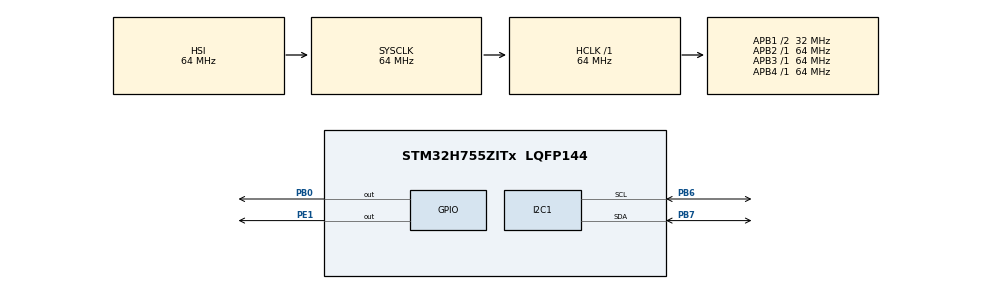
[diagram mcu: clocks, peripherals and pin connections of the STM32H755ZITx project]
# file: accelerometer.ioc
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CortexM4.IPs=FATFS_M4\:I,FREERTOS_M4\:I,IWDG2\:I,RCC,WWDG2\:I,DMA,BDMA,MDMA,NVIC2\:I,ETH,USART3,DEBUG,PDM2PCM_M4\:I,PWR,RESMGR_UTILITY,SYS_M4\:I,USB_DEVICE_M4\:I,USB_HOST_M4\:I,CORTEX_M4\:I,GPIO,OPENAMP_M4\:I,VREFBUF,NUCLEO-H755ZI-Q
CortexM7.IPs=FATFS_M7\:I,FREERTOS_M7\:I,IWDG1\:I,RCC\:I,WWDG1\:I,DMA\:I,BDMA\:I,MDMA\:I,NVIC1\:I,ETH\:I,USART3\:I,USB_OTG_FS\:I,SYS\:I,CORTEX_M7\:I,DEBUG\:I,PDM2PCM_M7\:I,PWR\:I,RESMGR_UTILITY\:I,USB_DEVICE_M7\:I,USB_HOST_M7\:I,GPIO\:I,OPENAMP_M7\:I,VREFBUF\:I,NUCLEO-H755ZI-Q\:I,I2C1\:I
CortexM7.Pins=PB0,PE1
I2C1.Timing=0x00707CBB
Mcu.Family=STM32H7
Mcu.Name=STM32H755ZITx
Mcu.Package=LQFP144
NVIC1.PriorityGroup=NVIC_PRIORITYGROUP_4
NVIC2.PriorityGroup=NVIC_PRIORITYGROUP_4
PB0.PinAttribute=CortexM7
PB0.Signal=GPIO_Output
PB3\ (JTDO/TRACESWO).PinAttribute=CortexM7
PB3\ (JTDO/TRACESWO).Signal=DEBUG_JTDO-SWO
PB6.Mode=I2C
PB6.PinAttribute=CortexM7
PB6.Signal=I2C1_SCL
PB7.Mode=I2C
PB7.PinAttribute=CortexM7
PB7.Signal=I2C1_SDA
PE1.PinAttribute=CortexM7
PE1.Signal=GPIO_Output
ProjectManager.HeapSize=M4-0x200,M7-0x200
ProjectManager.StackSize=M4-0x400,M7-0x400
ProjectManager.TargetToolchain=STM32CubeIDE
RCC.ADCFreq_Value=129000000
RCC.APB1Freq_Value=32000000
RCC.APB2Freq_Value=64000000
RCC.APB3Freq_Value=64000000
RCC.APB4Freq_Value=64000000
RCC.CortexFreq_Value=64000000
RCC.D2PPRE1=RCC_APB1_DIV2
RCC.DIVM1=5
RCC.DIVN1=48
RCC.DIVQ1=5
RCC.HCLKFreq_Value=64000000
RCC.PLL2FRACN=0
RCC.PLL3FRACN=0
RCC.PLLFRACN=0
RCC.SYSCLKFreq_VALUE=64000000
RCC.SupplySource=PWR_DIRECT_SMPS_SUPPLY
RCC.USBFreq_Value=122880000
VP_SYS_M4_VS_Systick.Mode=SysTick
board=NUCLEO-H755ZI-Q

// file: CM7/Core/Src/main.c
/* USER CODE BEGIN Header */
/**
 ******************************************************************************
 * @file           : main.c
 * @brief          : Main program body
 ******************************************************************************
 * @attention
 *
 * Copyright (c) 2024 STMicroelectronics.
 * All rights reserved.
 *
 * This software is licensed under terms that can be found in the LICENSE file
 * in the root directory of this software component.
 * If no LICENSE file comes with this software, it is provided AS-IS.
 *
 ******************************************************************************
 */
/* USER CODE END Header */
#include "main.h"

/* USER CODE BEGIN Includes */
#include <stdio.h>
/* USER CODE END Includes */

/* USER CODE BEGIN PD */

#ifndef HSEM_ID_0
#define HSEM_ID_0 (0U) /* HW semaphore 0*/
#endif

/* USER CODE END PD */

I2C_HandleTypeDef hi2c1;

void SystemClock_Config(void);
static void MX_GPIO_Init(void);
static void MX_I2C1_Init(void);

int main(void)
{

	/* USER CODE BEGIN Boot_Mode_Sequence_0 */
	int32_t timeout;
	/* USER CODE END Boot_Mode_Sequence_0 */

	/* USER CODE BEGIN Boot_Mode_Sequence_1 */
	/* Wait until CPU2 boots and enters in stop mode or timeout*/
	timeout = 0xFFFF;
	while((__HAL_RCC_GET_FLAG(RCC_FLAG_D2CKRDY) != RESET) && (timeout-- > 0));
	if ( timeout < 0 )
	{
		Error_Handler();
	}
	/* USER CODE END Boot_Mode_Sequence_1 */
	/* MCU Configuration--------------------------------------------------------*/

	/* Reset of all peripherals, Initializes the Flash interface and the Systick. */
	HAL_Init();

	/* USER CODE BEGIN Init */

	int _write(int le, char *ptr, int len)
	{
		int DataIdx;
		for(DataIdx = 0; DataIdx < len; DataIdx++)
		{
			ITM_SendChar(*ptr++);
		}

		return len;

	}

	/* USER CODE END Init */

	/* Configure the system clock */
	SystemClock_Config();
	/* USER CODE BEGIN Boot_Mode_Sequence_2 */
	/* When system initialization is finished, Cortex-M7 will release Cortex-M4 by means of
HSEM notification */
	/*HW semaphore Clock enable*/
	__HAL_RCC_HSEM_CLK_ENABLE();
	/*Take HSEM */
	HAL_HSEM_FastTake(HSEM_ID_0);
	/*Release HSEM in order to notify the CPU2(CM4)*/
	HAL_HSEM_Release(HSEM_ID_0,0);
	/* wait until CPU2 wakes up from stop mode */
	timeout = 0xFFFF;
	while((__HAL_RCC_GET_FLAG(RCC_FLAG_D2CKRDY) == RESET) && (timeout-- > 0));
	if ( timeout < 0 )
	{
		Error_Handler();
	}
	/* USER CODE END Boot_Mode_Sequence_2 */

	/* Initialize all configured peripherals */
	MX_GPIO_Init();
	MX_I2C1_Init();
	/* USER CODE BEGIN 2 */

	HAL_StatusTypeDef ret = HAL_I2C_IsDeviceReady(&hi2c1, (0b00011111 << 1) + 0, 1, 100);

	if(ret == HAL_OK)
		printf("Device is recognized \n");
	//HAL_GPIO_WritePin(GPIOE, GPIO_PIN_1, 1); // yellow
	else
		printf("Device is not recognized \n");

	//HAL_GPIO_WritePin(GPIOB, GPIO_PIN_0, 1); //green

	//	HAL_I2C_Mem_Read(I2C_HandleTypeDef *hi2c,
	//					 uint16_t DevAddress,
	//					 uint16_t MemAddress,
	//					 uint16_t MemAddSize,
	//					 uint8_t *pData,
	//					 uint16_t Size,
	//					 uint32_t Timeout)

	// First, read what's in register already then print it
	uint8_t cntl1 = 0;
	HAL_I2C_Mem_Read(&hi2c1, (0b00011111 << 1) + 1, 0x1B, 1, &cntl1, 1, 100);
	printf("cntl1 initial: %d \n", cntl1);

	// Reset register
	cntl1 = 0;
	HAL_I2C_Mem_Write(&hi2c1, (0b00011111 << 1) + 0, 0x1B, 1, &cntl1, 1, 100);

	// %%%%%%%%%% Setting up ODCNTL register %%%%%%%%%%
	uint8_t odcntl = 0b00000110;
	HAL_I2C_Mem_Write(&hi2c1, (0b00011111 << 1) + 0, 0x21, 1, &odcntl, 1, 100);

	odcntl = odcntl | 0b00001101;
	HAL_I2C_Mem_Write(&hi2c1, (0b00011111 << 1) + 0, 0x21, 1, &odcntl, 1, 100);

	HAL_I2C_Mem_Read(&hi2c1, (0b00011111 << 1) + 1, 0x21, 1, &odcntl, 1, 100);
	printf("odcntl after settings: %d \n", odcntl);
	// %%%%%%%%%% Setting up ODCNTL register %%%%%%%%%%

	// Read for debugging purposes
	HAL_I2C_Mem_Read(&hi2c1, (0b00011111 << 1) + 1, 0x1B, 1, &cntl1, 1, 100);
	printf("cntl1 after reset: %d \n", cntl1);

	// Then, set everything we want besides most significant bit
	uint8_t new_cntl1 = 0b01010000 | cntl1; // +- 32 g range
	//	uint8_t new_cntl1 = 0b01001000 | cntl1; // +- 16 g range
	HAL_I2C_Mem_Write(&hi2c1, (0b00011111 << 1) + 0, 0x1B, 1, &new_cntl1, 1, 100);

	// Read for debugging purposes
	HAL_I2C_Mem_Read(&hi2c1, (0b00011111 << 1) + 1, 0x1B, 1, &cntl1, 1, 100);
	printf("cntl1 after settings before enable: %d \n", cntl1);

	// Set the most significant bit to 1 to enable accelerometer
	new_cntl1 = 0b10000000 | cntl1;
	HAL_I2C_Mem_Write(&hi2c1, (0b00011111 << 1) + 0, 0x1B, 1, &new_cntl1, 1, 100);

	// Read for debugging purposes
	HAL_I2C_Mem_Read(&hi2c1, (0b00011111 << 1) + 1, 0x1B, 1, &cntl1, 1, 100);
	printf("cntl1 after enable: %d \n", cntl1);

	// vars for while loop
	uint8_t data[6];
	int16_t x_acc = 0;
	int16_t y_acc = 0;
	int16_t z_acc = 0;
	float x_accel_converted = 0.0;
	float y_accel_converted = 0.0;
	float z_accel_converted = 0.0;
	/* USER CODE END 2 */

	/* Infinite loop */
	while (1)
	{

		/* USER CODE BEGIN 3 */
		HAL_I2C_Mem_Read(&hi2c1, (0b00011111 << 1) + 1, 0x08, 1, data, 6, 100);

		x_acc = (data[1] << 8) + data[0];
		x_accel_converted = x_acc * ((float)(31.99902 / 32767.0));
		//		x_accel_converted = x_acc * ((float)(15.99951 / 32767.0));

		y_acc = (data[3] << 8) + data[2];
		y_accel_converted = y_acc * ((float)(31.99902 / 32767.0));
		//		y_accel_converted = y_acc * ((float)(15.99951 / 32767.0));

		z_acc = (data[5] << 8) + data[4];
		z_accel_converted = z_acc * ((float)(31.99902 / 32767.0));
		//		z_accel_converted = z_acc * ((float)(15.99951 / 32767.0));

		printf("X Accel: %f, Y Accel: %f, Z Accel: %f \n", x_accel_converted, y_accel_converted, z_accel_converted);
		//		printf("Z Accel float: %0.6f, Z Accel int: %d, MSB: %d, LSM: %d \n", z_accel_converted, z_acc, data[1], data[0]);
		HAL_Delay(1);
	}
	/* USER CODE END 3 */
}

void SystemClock_Config(void)
{
	RCC_OscInitTypeDef RCC_OscInitStruct = {0};
	RCC_ClkInitTypeDef RCC_ClkInitStruct = {0};

	/** Supply configuration update enable
	 */
	HAL_PWREx_ConfigSupply(PWR_DIRECT_SMPS_SUPPLY);

	/** Configure the main internal regulator output voltage
	 */
	__HAL_PWR_VOLTAGESCALING_CONFIG(PWR_REGULATOR_VOLTAGE_SCALE3);

	while(!__HAL_PWR_GET_FLAG(PWR_FLAG_VOSRDY)) {}

	/** Initializes the RCC Oscillators according to the specified parameters
	 * in the RCC_OscInitTypeDef structure.
	 */
	RCC_OscInitStruct.OscillatorType = RCC_OSCILLATORTYPE_HSI;
	RCC_OscInitStruct.HSIState = RCC_HSI_DIV1;
	RCC_OscInitStruct.HSICalibrationValue = RCC_HSICALIBRATION_DEFAULT;
	RCC_OscInitStruct.PLL.PLLState = RCC_PLL_NONE;
	if (HAL_RCC_OscConfig(&RCC_OscInitStruct) != HAL_OK)
	{
		Error_Handler();
	}

	/** Initializes the CPU, AHB and APB buses clocks
	 */
	RCC_ClkInitStruct.ClockType = RCC_CLOCKTYPE_HCLK|RCC_CLOCKTYPE_SYSCLK
			|RCC_CLOCKTYPE_PCLK1|RCC_CLOCKTYPE_PCLK2
			|RCC_CLOCKTYPE_D3PCLK1|RCC_CLOCKTYPE_D1PCLK1;
	RCC_ClkInitStruct.SYSCLKSource = RCC_SYSCLKSOURCE_HSI;
	RCC_ClkInitStruct.SYSCLKDivider = RCC_SYSCLK_DIV1;
	RCC_ClkInitStruct.AHBCLKDivider = RCC_HCLK_DIV1;
	RCC_ClkInitStruct.APB3CLKDivider = RCC_APB3_DIV1;
	RCC_ClkInitStruct.APB1CLKDivider = RCC_APB1_DIV2;
	RCC_ClkInitStruct.APB2CLKDivider = RCC_APB2_DIV1;
	RCC_ClkInitStruct.APB4CLKDivider = RCC_APB4_DIV1;

	if (HAL_RCC_ClockConfig(&RCC_ClkInitStruct, FLASH_LATENCY_1) != HAL_OK)
	{
		Error_Handler();
	}
}

static void MX_I2C1_Init(void)
{

	hi2c1.Instance = I2C1;
	hi2c1.Init.Timing = 0x00707CBB;
	hi2c1.Init.OwnAddress1 = 0;
	hi2c1.Init.AddressingMode = I2C_ADDRESSINGMODE_7BIT;
	hi2c1.Init.DualAddressMode = I2C_DUALADDRESS_DISABLE;
	hi2c1.Init.OwnAddress2 = 0;
	hi2c1.Init.OwnAddress2Masks = I2C_OA2_NOMASK;
	hi2c1.Init.GeneralCallMode = I2C_GENERALCALL_DISABLE;
	hi2c1.Init.NoStretchMode = I2C_NOSTRETCH_DISABLE;
	if (HAL_I2C_Init(&hi2c1) != HAL_OK)
	{
		Error_Handler();
	}

	/** Configure Analogue filter
	 */
	if (HAL_I2CEx_ConfigAnalogFilter(&hi2c1, I2C_ANALOGFILTER_ENABLE) != HAL_OK)
	{
		Error_Handler();
	}

	/** Configure Digital filter
	 */
	if (HAL_I2CEx_ConfigDigitalFilter(&hi2c1, 0) != HAL_OK)
	{
		Error_Handler();
	}

}

static void MX_GPIO_Init(void)
{
	GPIO_InitTypeDef GPIO_InitStruct = {0};

	/* GPIO Ports Clock Enable */
	__HAL_RCC_GPIOB_CLK_ENABLE();
	__HAL_RCC_GPIOE_CLK_ENABLE();

	/*Configure GPIO pin Output Level */
	HAL_GPIO_WritePin(GPIOB, GPIO_PIN_0, GPIO_PIN_RESET);

	/*Configure GPIO pin Output Level */
	HAL_GPIO_WritePin(GPIOE, GPIO_PIN_1, GPIO_PIN_RESET);

	/*Configure GPIO pin : PB0 */
	GPIO_InitStruct.Pin = GPIO_PIN_0;
	GPIO_InitStruct.Mode = GPIO_MODE_OUTPUT_PP;
	GPIO_InitStruct.Pull = GPIO_NOPULL;
	GPIO_InitStruct.Speed = GPIO_SPEED_FREQ_LOW;
	HAL_GPIO_Init(GPIOB, &GPIO_InitStruct);

	/*Configure GPIO pin : PE1 */
	GPIO_InitStruct.Pin = GPIO_PIN_1;
	GPIO_InitStruct.Mode = GPIO_MODE_OUTPUT_PP;
	GPIO_InitStruct.Pull = GPIO_NOPULL;
	GPIO_InitStruct.Speed = GPIO_SPEED_FREQ_LOW;
	HAL_GPIO_Init(GPIOE, &GPIO_InitStruct);

}

/* USER CODE BEGIN 4 */
int _write(int file, char *ptr, int len)
{
	(void)file;
	int DataIdx;

	for (DataIdx = 0; DataIdx < len; DataIdx++)
	{
		ITM_SendChar(*ptr++);
	}
	return len;
}
/* USER CODE END 4 */

void Error_Handler(void)
{
	__disable_irq();
	while (1)
	{
	}
}
